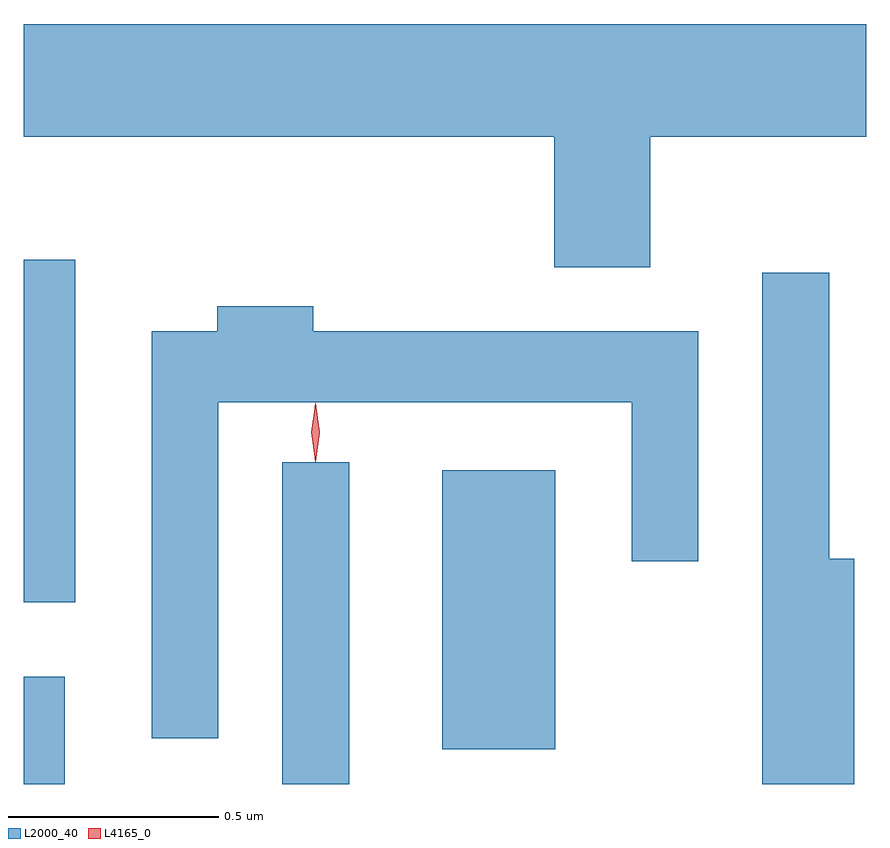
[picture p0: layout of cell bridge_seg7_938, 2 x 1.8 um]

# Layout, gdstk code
import gdstk
lib = gdstk.Library(unit=1e-6, precision=1e-09)
def R(c, l, rs):  # rectangles x0, y0, x1, y1
    for r in rs: c.add(gdstk.rectangle(r[:2], r[2:], *l))
def P(c, l, *ps):  # polygons
    for p in ps: c.add(gdstk.Polygon(p, *l))
L2000_40 = (2000, 40)
L4165_0 = (4165, 0)

bridge_seg7_938 = lib.new_cell('bridge_seg7_938')
R(bridge_seg7_938, L2000_40, [(419.612,1706.119,419.709,1706.374), (420.226,1706.119,420.384,1706.883), (420.606,1706.201,420.874,1706.864), (419.612,1706.551,419.734,1707.364)])
P(bridge_seg7_938, L2000_40, [(421.099,1707.656),(421.612,1707.656),(421.612,1707.924),(419.612,1707.924),(419.612,1707.656),(420.871,1707.656),(420.871,1707.346),(421.099,1707.346)],
  [(421.584,1706.654),(421.524,1706.654),(421.524,1707.333),(421.366,1707.333),(421.366,1706.119),(421.584,1706.119)],
  [(420.074,1707.026),(421.056,1707.026),(421.056,1706.648),(421.214,1706.648),(421.214,1707.194),(420.299,1707.194),(420.299,1707.254),(420.071,1707.254),(420.071,1707.194),(419.916,1707.194),(419.916,1706.228),(420.074,1706.228)])
P(bridge_seg7_938, L4165_0, [(420.304,1706.884),(420.295,1706.953),(420.304,1707.023),(420.305,1707.023),(420.305,1707.023),(420.315,1706.953),(420.305,1706.884),(420.305,1706.884)],
  [(420.304,1706.887),(420.294,1706.954),(420.304,1707.02),(420.304,1707.02),(420.305,1707.02),(420.314,1706.954),(420.305,1706.887),(420.305,1706.887)])

lib.write_gds('bridge_seg7_938.gds')
